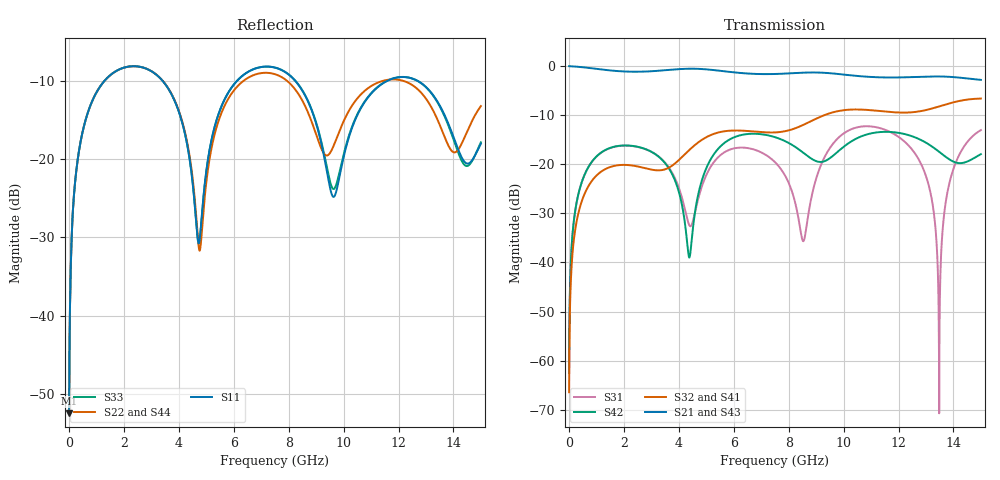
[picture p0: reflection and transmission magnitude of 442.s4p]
! Created with skrf 1.8.0 (http://scikit-rf.org).
# GHz S RI R 50.0
!freq ReS11 ImS11 ReS12 ImS12 ReS13 ImS13
! ReS14 ImS14
! ReS21 ImS21 ReS22 ImS22 ReS23 ImS23
! ReS24 ImS24
! ReS31 ImS31 ReS32 ImS32 ReS33 ImS33
! ReS34 ImS34
! ReS41 ImS41 ReS42 ImS42 ReS43 ImS43
! ReS44 ImS44
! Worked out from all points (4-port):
!   2499 points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, 5 MHz to 15 GHz, reference 50 ohm
!   strongest paths, dB at 5 MHz, 3.476 GHz, 7.19 GHz, 11.1 GHz, 15 GHz:
!     S21: 0.0, -0.9, -1.6, -2.2, -2.8
!     S43: 0.0, -0.9, -1.6, -2.2, -2.8
!     S32: -66.4, -21.1, -13.5, -9.0, -6.6
!     S41: -66.4, -21.1, -13.5, -9.0, -6.6
!     S42: -62.5, -19.6, -14.0, -13.6, -17.9
!     S31: -62.5, -19.5, -18.2, -12.4, -13.0
!   lowest |S11| = -52.5 dB at 5 MHz (marker M1), VSWR 1.00, Z = 50.2 + j0.144 ohm
!   |S11| at or under -10 dB: 3.414 GHz to 6.113 GHz (2.698 GHz wide, 56.7 % of centre); 8.244 GHz to 11.58 GHz (3.337 GHz wide, 33.7 % of centre); 12.71 GHz to end of sweep (the widest 3 of 4)
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0.005  0.00189 0.00144  0.9981 -0.00368  9.55e-05 0.000744  -9.28e-05 -0.000468
       0.9981 -0.00368  0.00189 0.00144  -9.28e-05 -0.000468  9.56e-05 0.000744
       9.55e-05 0.000744  -9.28e-05 -0.000468  0.00189 0.00144  0.9981 -0.00368
       -9.28e-05 -0.000468  9.56e-05 0.000744  0.9981 -0.00368  0.00189 0.00144
1.419341  0.2875 0.171  0.5121 -0.7497  0.1318 0.0566  -0.0919 -0.000118
          0.5121 -0.7497  0.287 0.1714  -0.0919 -0.000146  0.1332 0.0547
          0.1318 0.0566  -0.0919 -0.000146  0.2876 0.171  0.5121 -0.7498
          -0.0919 -0.000118  0.1332 0.0547  0.5121 -0.7498  0.287 0.1714
4.601917  0.031 -0.034  -0.9264 -0.1559  -0.0236 0.0239  -0.0225 0.1568
          -0.9264 -0.1559  0.0291 -0.0413  -0.023 0.1567  0.0182 0.0291
          -0.0236 0.0239  -0.023 0.1567  0.0308 -0.0347  -0.9264 -0.1559
          -0.0225 0.1568  0.0182 0.0291  -0.9264 -0.1559  0.0295 -0.042
7.315548  0.3878 -0.0427  -0.0144 0.8287  0.1155 -0.0163  0.2043 -0.0508
          -0.0144 0.8287  0.3555 -0.00433  0.2045 -0.0502  0.1234 -0.1513
          0.1155 -0.0163  0.2045 -0.0502  0.3885 -0.0409  -0.0137 0.8284
          0.2043 -0.0508  0.1234 -0.1513  -0.0137 0.8284  0.356 -0.00669
12.11755  0.3349 -0.0171  0.0877 -0.7624  0.1621 -0.0781  -0.3363 0.034
          0.0877 -0.7624  0.316 -0.0436  -0.3346 0.0301  0.1492 -0.1423
          0.1621 -0.0781  -0.3346 0.0301  0.3348 -0.0271  0.0845 -0.7634
          -0.3363 0.034  0.1492 -0.1423  0.0845 -0.7634  0.3125 -0.0363
13.48062  0.1774 -0.1368  -0.5468 -0.562  -0.000262 -0.000126  -0.2683 0.2807
          -0.5468 -0.562  0.1469 -0.0839  -0.2721 0.2772  -0.0888 -0.1003
          -0.000262 -0.000126  -0.2721 0.2772  0.1704 -0.1409  -0.5508 -0.5585
          -0.2683 0.2807  -0.0888 -0.1003  -0.5508 -0.5585  0.1493 -0.0773
15  0.1174 0.0451  -0.7081 0.1496  0.1727 0.1409  0.1381 0.4457
    -0.7081 0.1496  0.1964 0.0963  0.1341 0.4472  0.0509 0.1161
    0.1727 0.1409  0.1341 0.4472  0.1186 0.0488  -0.7058 0.1561
    0.1381 0.4457  0.0509 0.1161  -0.7058 0.1561  0.1995 0.0984
